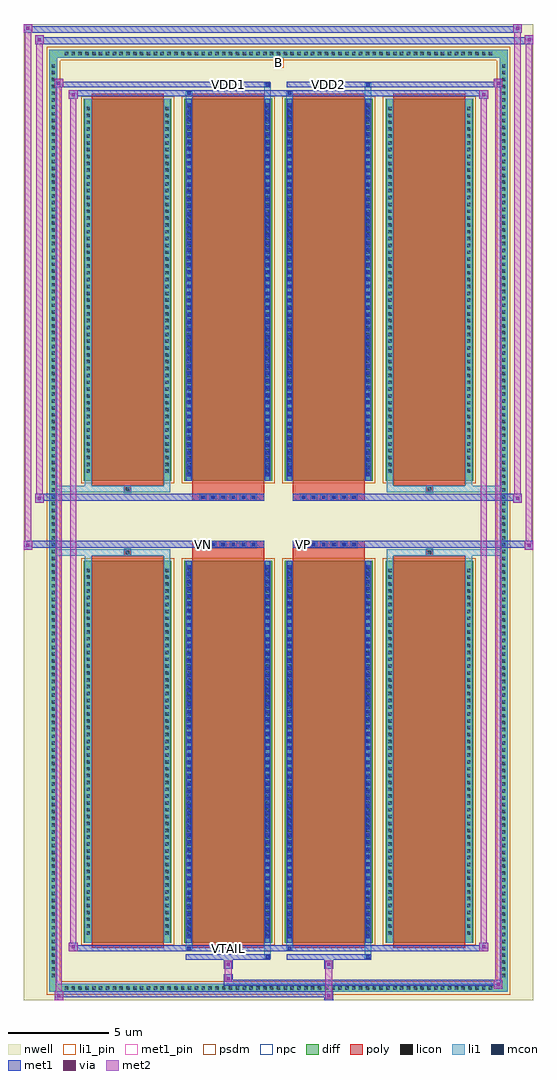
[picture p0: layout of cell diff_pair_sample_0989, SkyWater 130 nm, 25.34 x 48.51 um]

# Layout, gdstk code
import gdstk
lib = gdstk.Library(unit=1e-6, precision=5e-09)
def R(c, l, rs):  # rectangles x0, y0, x1, y1
    for r in rs: c.add(gdstk.rectangle(r[:2], r[2:], *l))
def A(c, l, x, y, w, h, nx, ny, dx, dy):  # array of equal rectangles
    R(c, l, [(x+i*dx, y+j*dy, x+i*dx+w, y+j*dy+h) for i in range(nx) for j in range(ny)])
def P(c, l, *ps):  # polygons
    for p in ps: c.add(gdstk.Polygon(p, *l))
nwell = (64, 20)
diff = (65, 20)
poly = (66, 20)
licon = (66, 44)
li1_pin = (67, 16)
li1 = (67, 20)
mcon = (67, 44)
met1_pin = (68, 16)
met1 = (68, 20)
via = (68, 44)
met2 = (69, 20)
psdm = (94, 20)
npc = (95, 20)

diff_pair_sample_0989 = lib.new_cell('diff_pair_sample_0989')
R(diff_pair_sample_0989, nwell, [(-12.67,-23.82,12.67,24.69), (-9.99,-22.01,-0.01,-0.805), (0.01,-22.01,9.99,-0.805), (-9.99,0.805,-0.01,22.01), (0.01,0.805,9.99,22.01)])
A(diff_pair_sample_0989, diff, -10.745, -23.42, 0.41, 0.41, 63, 2, 0.34, 46.43)
A(diff_pair_sample_0989, diff, -11.4, -22.815, 0.41, 0.41, 1, 134, 0, 0.34)
A(diff_pair_sample_0989, diff, 10.99, -22.815, 0.41, 0.41, 1, 134, 0, 0.34)
A(diff_pair_sample_0989, diff, -9.68, -20.965, 4.36, 18.98, 4, 2, 5, 22.95)
R(diff_pair_sample_0989, diff, [(-10.745,-23.42,10.745,-23.01), (-11.4,-22.815,-10.99,22.815), (10.99,-22.815,11.4,22.815), (-10.745,23.01,10.745,23.42)])
P(diff_pair_sample_0989, diff, [(11.4,23.42),(-11.4,23.42),(-11.4,-23.01),(-10.99,-23.01),(-10.99,23.01),(10.99,23.01),(10.99,-23.01),(-10.99,-23.01),(-11.4,-23.01),(-11.4,-23.42),(11.4,-23.42)])
A(diff_pair_sample_0989, poly, -9.29, -21.215, 3.58, 19.48, 4, 2, 5, 22.95)
A(diff_pair_sample_0989, poly, -3.915, -1.335, 0.33, 0.33, 6, 2, 0.5, 2.34)
A(diff_pair_sample_0989, poly, 1.085, -1.335, 0.33, 0.33, 6, 2, 0.5, 2.34)
R(diff_pair_sample_0989, poly, [(-7.665,-1.735,-7.335,-1.405), (-7.665,-1.735,-7.335,-1.405), (-4.29,-1.735,-0.71,-1.335), (0.71,-1.735,4.29,-1.335), (7.335,-1.735,7.665,-1.405), (7.335,-1.735,7.665,-1.405), (-4.29,-1.335,-0.71,-1.005), (0.71,-1.335,4.29,-1.005), (-4.29,1.005,-0.71,1.335), (0.71,1.005,4.29,1.335), (-4.29,1.335,-0.71,1.735), (0.71,1.335,4.29,1.735), (-7.665,1.405,-7.335,1.735), (-7.665,1.405,-7.335,1.735), (7.335,1.405,7.665,1.735), (7.335,1.405,7.665,1.735)])
A(diff_pair_sample_0989, licon, -10.625, -23.3, 0.17, 0.17, 63, 2, 0.34, 46.43)
A(diff_pair_sample_0989, licon, -11.28, -22.695, 0.17, 0.17, 1, 134, 0, 0.34)
A(diff_pair_sample_0989, licon, 11.11, -22.695, 0.17, 0.17, 1, 134, 0, 0.34)
A(diff_pair_sample_0989, licon, -9.54, -20.57, 0.17, 0.17, 1, 54, 0, 0.34)
A(diff_pair_sample_0989, licon, -5.63, -20.57, 0.17, 0.17, 1, 54, 0, 0.34)
A(diff_pair_sample_0989, licon, -4.54, -20.57, 0.17, 0.17, 1, 54, 0, 0.34)
A(diff_pair_sample_0989, licon, -0.63, -20.57, 0.17, 0.17, 1, 54, 0, 0.34)
A(diff_pair_sample_0989, licon, 0.46, -20.57, 0.17, 0.17, 1, 54, 0, 0.34)
A(diff_pair_sample_0989, licon, 4.37, -20.57, 0.17, 0.17, 1, 54, 0, 0.34)
A(diff_pair_sample_0989, licon, 5.46, -20.57, 0.17, 0.17, 1, 54, 0, 0.34)
A(diff_pair_sample_0989, licon, 9.37, -20.57, 0.17, 0.17, 1, 54, 0, 0.34)
A(diff_pair_sample_0989, licon, -3.835, -1.255, 0.17, 0.17, 6, 2, 0.5, 2.34)
A(diff_pair_sample_0989, licon, 1.165, -1.255, 0.17, 0.17, 6, 2, 0.5, 2.34)
A(diff_pair_sample_0989, licon, -9.54, 2.38, 0.17, 0.17, 1, 54, 0, 0.34)
A(diff_pair_sample_0989, licon, -5.63, 2.38, 0.17, 0.17, 1, 54, 0, 0.34)
A(diff_pair_sample_0989, licon, -4.54, 2.38, 0.17, 0.17, 1, 54, 0, 0.34)
A(diff_pair_sample_0989, licon, -0.63, 2.38, 0.17, 0.17, 1, 54, 0, 0.34)
A(diff_pair_sample_0989, licon, 0.46, 2.38, 0.17, 0.17, 1, 54, 0, 0.34)
A(diff_pair_sample_0989, licon, 4.37, 2.38, 0.17, 0.17, 1, 54, 0, 0.34)
A(diff_pair_sample_0989, licon, 5.46, 2.38, 0.17, 0.17, 1, 54, 0, 0.34)
A(diff_pair_sample_0989, licon, 9.37, 2.38, 0.17, 0.17, 1, 54, 0, 0.34)
R(diff_pair_sample_0989, licon, [(-7.585,-1.655,-7.415,-1.485), (7.415,-1.655,7.585,-1.485), (-7.585,1.485,-7.415,1.655), (7.415,1.485,7.585,1.655)])
R(diff_pair_sample_0989, li1_pin, [(-0.25,22.51,0.25,23.01)])
A(diff_pair_sample_0989, li1, -10.705, -23.38, 0.33, 0.33, 63, 2, 0.34, 46.43)
A(diff_pair_sample_0989, li1, -11.36, -22.775, 0.33, 0.33, 1, 134, 0, 0.34)
A(diff_pair_sample_0989, li1, 11.03, -22.775, 0.33, 0.33, 1, 134, 0, 0.34)
A(diff_pair_sample_0989, li1, -4.54, -20.74, 0.17, 0.17, 1, 52, 0, 0.36)
A(diff_pair_sample_0989, li1, -0.63, -20.74, 0.17, 0.17, 1, 52, 0, 0.36)
A(diff_pair_sample_0989, li1, 0.46, -20.74, 0.17, 0.17, 1, 52, 0, 0.36)
A(diff_pair_sample_0989, li1, 4.37, -20.74, 0.17, 0.17, 1, 52, 0, 0.36)
A(diff_pair_sample_0989, li1, -9.62, -20.65, 0.33, 0.33, 1, 54, 0, 0.34)
A(diff_pair_sample_0989, li1, -5.71, -20.65, 0.33, 0.33, 1, 54, 0, 0.34)
A(diff_pair_sample_0989, li1, -4.62, -20.65, 0.33, 0.33, 1, 54, 0, 0.34)
A(diff_pair_sample_0989, li1, -0.71, -20.65, 0.33, 0.33, 1, 54, 0, 0.34)
A(diff_pair_sample_0989, li1, 0.38, -20.65, 0.33, 0.33, 1, 54, 0, 0.34)
A(diff_pair_sample_0989, li1, 4.29, -20.65, 0.33, 0.33, 1, 54, 0, 0.34)
A(diff_pair_sample_0989, li1, 5.38, -20.65, 0.33, 0.33, 1, 54, 0, 0.34)
A(diff_pair_sample_0989, li1, 9.29, -20.65, 0.33, 0.33, 1, 54, 0, 0.34)
A(diff_pair_sample_0989, li1, -3.915, -1.335, 0.33, 0.33, 6, 2, 0.5, 2.34)
A(diff_pair_sample_0989, li1, 1.085, -1.335, 0.33, 0.33, 6, 2, 0.5, 2.34)
A(diff_pair_sample_0989, li1, -4.54, 2.21, 0.17, 0.17, 1, 52, 0, 0.36)
A(diff_pair_sample_0989, li1, -0.63, 2.21, 0.17, 0.17, 1, 52, 0, 0.36)
A(diff_pair_sample_0989, li1, 0.46, 2.21, 0.17, 0.17, 1, 52, 0, 0.36)
A(diff_pair_sample_0989, li1, 4.37, 2.21, 0.17, 0.17, 1, 52, 0, 0.36)
A(diff_pair_sample_0989, li1, -9.62, 2.3, 0.33, 0.33, 1, 54, 0, 0.34)
A(diff_pair_sample_0989, li1, -5.71, 2.3, 0.33, 0.33, 1, 54, 0, 0.34)
A(diff_pair_sample_0989, li1, -4.62, 2.3, 0.33, 0.33, 1, 54, 0, 0.34)
A(diff_pair_sample_0989, li1, -0.71, 2.3, 0.33, 0.33, 1, 54, 0, 0.34)
A(diff_pair_sample_0989, li1, 0.38, 2.3, 0.33, 0.33, 1, 54, 0, 0.34)
A(diff_pair_sample_0989, li1, 4.29, 2.3, 0.33, 0.33, 1, 54, 0, 0.34)
A(diff_pair_sample_0989, li1, 5.38, 2.3, 0.33, 0.33, 1, 54, 0, 0.34)
A(diff_pair_sample_0989, li1, 9.29, 2.3, 0.33, 0.33, 1, 54, 0, 0.34)
R(diff_pair_sample_0989, li1, [(-11.4,-23.42,-10.99,-23.01), (-11.4,-23.42,-10.99,-23.01), (-10.99,-23.42,10.99,-23.01), (10.99,-23.42,11.4,-23.01), (10.99,-23.42,11.4,-23.01), (-11.4,-23.01,-10.99,23.01), (10.99,-23.01,11.4,23.01), (-0.71,-21.77,-0.38,-20.965), (-0.63,-21.77,-0.46,-21.6), (4.29,-21.77,4.62,-20.965), (4.37,-21.77,4.54,-21.6), (-4.62,-21.34,-4.29,-20.965), (-4.54,-21.34,-4.37,-21.17), (0.38,-21.34,0.71,-20.965), (0.46,-21.34,0.63,-21.17), (-9.62,-20.965,-9.29,-1.985), (-5.71,-20.965,-5.38,-1.985), (-4.62,-20.965,-4.29,-1.985), (-0.71,-20.965,-0.38,-1.985), (0.38,-20.965,0.71,-1.985), (4.29,-20.965,4.62,-1.985), (5.38,-20.965,5.71,-1.985), (9.29,-20.965,9.62,-1.985), (-4.54,-20.74,-4.37,-2.21), (-0.63,-20.74,-0.46,-2.21), (0.46,-20.74,0.63,-2.21), (4.37,-20.74,4.54,-2.21), (-9.62,-1.985,-9.29,-1.405), (-5.71,-1.985,-5.38,-1.405), (5.38,-1.985,5.71,-1.405), (9.29,-1.985,9.62,-1.405), (-11.4,-1.735,-7.665,-1.405), (-9.62,-1.735,-7.665,-1.405), (-7.665,-1.735,-7.335,-1.405), (-7.335,-1.735,-5.38,-1.405), (5.38,-1.735,7.335,-1.405), (7.335,-1.735,7.665,-1.405), (7.335,-1.735,11.4,-1.405), (7.665,-1.735,9.62,-1.405), (-11.4,1.405,-7.665,1.735), (-9.62,1.405,-7.665,1.735), (-9.62,1.405,-9.29,1.985), (-7.665,1.405,-7.335,1.735), (-7.335,1.405,-5.38,1.735), (-5.71,1.405,-5.38,1.985), (5.38,1.405,7.335,1.735), (5.38,1.405,5.71,1.985), (7.335,1.405,7.665,1.735), (7.335,1.405,11.4,1.735), (7.665,1.405,9.62,1.735), (9.29,1.405,9.62,1.985), (-9.62,1.985,-9.29,20.965), (-5.71,1.985,-5.38,20.965), (-4.62,1.985,-4.29,20.965), (-0.71,1.985,-0.38,20.965), (0.38,1.985,0.71,20.965), (4.29,1.985,4.62,20.965), (5.38,1.985,5.71,20.965), (9.29,1.985,9.62,20.965), (-4.54,2.21,-4.37,20.74), (-0.63,2.21,-0.46,20.74), (0.46,2.21,0.63,20.74), (4.37,2.21,4.54,20.74), (-4.62,20.965,-4.29,21.34), (-0.71,20.965,-0.38,21.77), (0.38,20.965,0.71,21.34), (4.29,20.965,4.62,21.77), (-4.54,21.17,-4.37,21.34), (0.46,21.17,0.63,21.34), (-0.63,21.6,-0.46,21.77), (4.37,21.6,4.54,21.77), (-11.4,23.01,-10.99,23.42), (-11.4,23.01,-10.99,23.42), (-10.99,23.01,10.99,23.42), (10.99,23.01,11.4,23.42), (10.99,23.01,11.4,23.42)])
A(diff_pair_sample_0989, mcon, -4.54, -20.74, 0.17, 0.17, 1, 52, 0, 0.36)
A(diff_pair_sample_0989, mcon, -0.63, -20.74, 0.17, 0.17, 1, 52, 0, 0.36)
A(diff_pair_sample_0989, mcon, 0.46, -20.74, 0.17, 0.17, 1, 52, 0, 0.36)
A(diff_pair_sample_0989, mcon, 4.37, -20.74, 0.17, 0.17, 1, 52, 0, 0.36)
A(diff_pair_sample_0989, mcon, -3.835, -1.255, 0.17, 0.17, 6, 2, 0.5, 2.34)
A(diff_pair_sample_0989, mcon, 1.165, -1.255, 0.17, 0.17, 6, 2, 0.5, 2.34)
A(diff_pair_sample_0989, mcon, -4.54, 2.21, 0.17, 0.17, 1, 52, 0, 0.36)
A(diff_pair_sample_0989, mcon, -0.63, 2.21, 0.17, 0.17, 1, 52, 0, 0.36)
A(diff_pair_sample_0989, mcon, 0.46, 2.21, 0.17, 0.17, 1, 52, 0, 0.36)
A(diff_pair_sample_0989, mcon, 4.37, 2.21, 0.17, 0.17, 1, 52, 0, 0.36)
R(diff_pair_sample_0989, mcon, [(-0.63,-21.77,-0.46,-21.6), (4.37,-21.77,4.54,-21.6), (-4.54,-21.34,-4.37,-21.17), (0.46,-21.34,0.63,-21.17), (-4.54,21.17,-4.37,21.34), (0.46,21.17,0.63,21.34), (-0.63,21.6,-0.46,21.77), (4.37,21.6,4.54,21.77)])
R(diff_pair_sample_0989, met1_pin, [(-2.635,-21.38,-2.365,-21.11), (-3.885,-1.295,-3.615,-1.025), (1.115,-1.295,1.385,-1.025), (-2.635,21.56,-2.365,21.83), (2.365,21.56,2.635,21.83)])
A(diff_pair_sample_0989, met1, -4.6, -20.8, 0.29, 0.29, 1, 52, 0, 0.36)
A(diff_pair_sample_0989, met1, -0.69, -20.8, 0.29, 0.29, 1, 52, 0, 0.36)
A(diff_pair_sample_0989, met1, 0.4, -20.8, 0.29, 0.29, 1, 52, 0, 0.36)
A(diff_pair_sample_0989, met1, 4.31, -20.8, 0.29, 0.29, 1, 52, 0, 0.36)
A(diff_pair_sample_0989, met1, -3.895, -1.315, 0.29, 0.29, 6, 2, 0.5, 2.34)
A(diff_pair_sample_0989, met1, 1.105, -1.315, 0.29, 0.29, 6, 2, 0.5, 2.34)
A(diff_pair_sample_0989, met1, -4.6, 2.15, 0.29, 0.29, 1, 52, 0, 0.36)
A(diff_pair_sample_0989, met1, -0.69, 2.15, 0.29, 0.29, 1, 52, 0, 0.36)
A(diff_pair_sample_0989, met1, 0.4, 2.15, 0.29, 0.29, 1, 52, 0, 0.36)
A(diff_pair_sample_0989, met1, 4.31, 2.15, 0.29, 0.29, 1, 52, 0, 0.36)
R(diff_pair_sample_0989, met1, [(-11.13,-23.82,-10.7,-23.39), (2.285,-23.82,2.715,-23.39), (-11.13,-23.68,2.715,-23.39), (10.7,-23.25,11.13,-22.82), (-2.715,-23.11,11.13,-22.82), (-2.715,-22.97,-2.285,-22.54), (-2.715,-22.26,-2.285,-21.83), (2.285,-22.26,2.715,-21.83), (-4.6,-21.83,-0.4,-21.54), (-0.69,-21.83,-0.4,-21.54), (0.4,-21.83,4.6,-21.54), (4.31,-21.83,4.6,-21.54), (-10.42,-21.4,-9.99,-20.97), (-10.42,-21.4,-4.6,-21.11), (-4.6,-21.4,-4.31,-21.11), (-4.6,-21.4,-0.4,-21.11), (-0.4,-21.4,0.4,-21.11), (0.4,-21.4,0.69,-21.11), (0.4,-21.4,4.6,-21.11), (4.6,-21.4,10.42,-21.11), (9.99,-21.4,10.42,-20.97), (-4.6,-20.965,-4.31,-1.985), (-0.69,-20.965,-0.4,-1.985), (0.4,-20.965,0.69,-1.985), (4.31,-20.965,4.6,-1.985), (-12.67,-1.435,-12.24,-1.005), (12.24,-1.435,12.67,-1.005), (-12.67,-1.335,-0.71,-1.005), (-4.29,-1.335,-0.71,-1.005), (0.71,-1.335,4.29,-1.005), (0.71,-1.335,12.67,-1.005), (-12.1,0.905,-11.67,1.335), (11.67,0.905,12.1,1.335), (-12.1,1.005,-4.29,1.335), (-4.29,1.005,-0.71,1.335), (0.71,1.005,4.29,1.335), (4.29,1.005,12.1,1.335), (-4.6,1.985,-4.31,20.965), (-0.69,1.985,-0.4,20.965), (0.4,1.985,0.69,20.965), (4.31,1.985,4.6,20.965), (-10.42,20.97,-9.99,21.4), (9.99,20.97,10.42,21.4), (-10.42,21.11,-4.6,21.4), (-4.6,21.11,-4.31,21.4), (-4.6,21.11,-0.4,21.4), (-0.4,21.11,0.4,21.4), (0.4,21.11,0.69,21.4), (0.4,21.11,4.6,21.4), (4.6,21.11,10.42,21.4), (-11.13,21.54,-10.7,21.97), (-11.13,21.54,-4.6,21.83), (-4.6,21.54,-0.4,21.83), (-0.69,21.54,-0.4,21.83), (0.4,21.54,4.6,21.83), (4.31,21.54,4.6,21.83), (4.6,21.54,11.13,21.83), (10.7,21.54,11.13,21.97), (-12.1,23.69,-11.67,24.12), (-12.1,23.69,-9.99,24.02), (-9.99,23.69,9.99,24.02), (9.99,23.69,12.67,24.02), (12.24,23.69,12.67,24.12), (-12.67,24.26,-12.24,24.69), (-12.67,24.26,-9.99,24.59), (-9.99,24.26,9.99,24.59), (9.99,24.26,12.1,24.59), (11.67,24.26,12.1,24.69)])
R(diff_pair_sample_0989, via, [(-10.99,-23.68,-10.84,-23.53), (2.425,-23.68,2.575,-23.53), (10.84,-23.11,10.99,-22.96), (-2.575,-22.83,-2.425,-22.68), (-2.575,-22.12,-2.425,-21.97), (2.425,-22.12,2.575,-21.97), (-10.28,-21.26,-10.13,-21.11), (10.13,-21.26,10.28,-21.11), (-12.53,-1.295,-12.38,-1.145), (12.38,-1.295,12.53,-1.145), (-11.96,1.045,-11.81,1.195), (11.81,1.045,11.96,1.195), (-10.28,21.11,-10.13,21.26), (10.13,21.11,10.28,21.26), (-10.99,21.68,-10.84,21.83), (10.84,21.68,10.99,21.83), (-11.96,23.83,-11.81,23.98), (12.38,23.83,12.53,23.98), (-12.53,24.4,-12.38,24.55), (11.81,24.4,11.96,24.55)])
R(diff_pair_sample_0989, met2, [(-11.13,-23.82,-10.7,-23.39), (-11.06,-23.82,-10.77,21.97), (-10.77,-23.82,-10.7,-23.39), (-11.08,-23.77,-10.75,-23.44), (2.335,-23.77,2.665,-23.44), (2.335,-23.44,2.665,-22.21), (10.7,-23.25,11.13,-22.82), (10.77,-23.25,11.06,21.97), (11.06,-23.25,11.13,-22.82), (10.75,-23.2,11.08,-22.87), (-2.665,-22.92,-2.335,-22.59), (-2.665,-22.59,-2.335,-22.21), (-2.665,-22.21,-2.335,-21.88), (2.335,-22.21,2.665,-21.88), (-10.42,-21.4,-9.99,-20.97), (-10.35,-21.4,-10.06,21.4), (-10.06,-21.4,-9.99,-20.97), (9.99,-21.4,10.42,-20.97), (10.06,-21.4,10.35,21.4), (10.35,-21.4,10.42,-20.97), (-10.37,-21.35,-10.04,-21.02), (10.04,-21.35,10.37,-21.02), (-12.67,-1.435,-12.24,-1.005), (-12.62,-1.435,-12.29,24.69), (-12.29,-1.435,-12.24,-1.005), (12.24,-1.435,12.67,-1.005), (12.29,-1.435,12.62,24.12), (12.62,-1.435,12.67,-1.005), (-12.62,-1.385,-12.29,-1.055), (12.29,-1.385,12.62,-1.055), (-12.1,0.905,-11.67,1.335), (-12.05,0.905,-11.72,24.12), (-11.72,0.905,-11.67,1.335), (11.67,0.905,12.1,1.335), (11.72,0.905,12.05,24.69), (12.05,0.905,12.1,1.335), (-12.05,0.955,-11.72,1.285), (11.72,0.955,12.05,1.285), (-10.42,20.97,-9.99,21.4), (-10.06,20.97,-9.99,21.4), (9.99,20.97,10.42,21.4), (10.35,20.97,10.42,21.4), (-10.37,21.02,-10.04,21.35), (10.04,21.02,10.37,21.35), (-11.13,21.54,-10.7,21.97), (-10.77,21.54,-10.7,21.97), (10.7,21.54,11.13,21.97), (11.06,21.54,11.13,21.97), (-11.08,21.59,-10.75,21.92), (10.75,21.59,11.08,21.92), (-12.1,23.69,-11.67,24.12), (-11.72,23.69,-11.67,24.12), (12.24,23.69,12.67,24.12), (12.62,23.69,12.67,24.12), (-12.05,23.74,-11.72,24.07), (12.29,23.74,12.62,24.07), (-12.67,24.26,-12.24,24.69), (-12.29,24.26,-12.24,24.69), (11.67,24.26,12.1,24.69), (12.05,24.26,12.1,24.69), (-12.62,24.31,-12.29,24.64), (11.72,24.31,12.05,24.64)])
A(diff_pair_sample_0989, psdm, -9.81, -21.095, 4.62, 19.24, 4, 2, 5, 22.95)
P(diff_pair_sample_0989, psdm, [(11.53,23.55),(-11.53,23.55),(-11.53,-22.88),(-10.86,-22.88),(-10.86,22.88),(10.86,22.88),(10.86,-22.88),(-10.86,-22.88),(-11.53,-22.88),(-11.53,-23.55),(11.53,-23.55)])
A(diff_pair_sample_0989, npc, -3.935, -1.355, 0.37, 0.37, 6, 2, 0.5, 2.34)
A(diff_pair_sample_0989, npc, 1.065, -1.355, 0.37, 0.37, 6, 2, 0.5, 2.34)
R(diff_pair_sample_0989, npc, [(-7.685,-1.755,-7.315,-1.385), (7.315,-1.755,7.685,-1.385), (-3.935,-1.355,-3.065,-0.985), (-3.935,-1.355,-3.065,-0.985), (-3.435,-1.355,-2.565,-0.985), (-3.435,-1.355,-2.565,-0.985), (-2.935,-1.355,-2.065,-0.985), (-2.935,-1.355,-2.065,-0.985), (-2.435,-1.355,-1.565,-0.985), (-2.435,-1.355,-1.565,-0.985), (-1.935,-1.355,-1.065,-0.985), (-1.935,-1.355,-1.065,-0.985), (1.065,-1.355,1.935,-0.985), (1.065,-1.355,1.935,-0.985), (1.565,-1.355,2.435,-0.985), (1.565,-1.355,2.435,-0.985), (2.065,-1.355,2.935,-0.985), (2.065,-1.355,2.935,-0.985), (2.565,-1.355,3.435,-0.985), (2.565,-1.355,3.435,-0.985), (3.065,-1.355,3.935,-0.985), (3.065,-1.355,3.935,-0.985), (-3.935,0.985,-3.065,1.355), (-3.935,0.985,-3.065,1.355), (-3.435,0.985,-2.565,1.355), (-3.435,0.985,-2.565,1.355), (-2.935,0.985,-2.065,1.355), (-2.935,0.985,-2.065,1.355), (-2.435,0.985,-1.565,1.355), (-2.435,0.985,-1.565,1.355), (-1.935,0.985,-1.065,1.355), (-1.935,0.985,-1.065,1.355), (1.065,0.985,1.935,1.355), (1.065,0.985,1.935,1.355), (1.565,0.985,2.435,1.355), (1.565,0.985,2.435,1.355), (2.065,0.985,2.935,1.355), (2.065,0.985,2.935,1.355), (2.565,0.985,3.435,1.355), (2.565,0.985,3.435,1.355), (3.065,0.985,3.935,1.355), (3.065,0.985,3.935,1.355), (-7.685,1.385,-7.315,1.755), (7.315,1.385,7.685,1.755)])
diff_pair_sample_0989.add(gdstk.Label('VTAIL', (-2.5,-21.245), layer=68, texttype=5))
diff_pair_sample_0989.add(gdstk.Label('VN', (-3.75,-1.16), layer=68, texttype=5))
diff_pair_sample_0989.add(gdstk.Label('VP', (1.25,-1.16), layer=68, texttype=5))
diff_pair_sample_0989.add(gdstk.Label('B', (0,22.76), layer=67, texttype=5))
diff_pair_sample_0989.add(gdstk.Label('VDD2', (2.5,21.695), layer=68, texttype=5))
diff_pair_sample_0989.add(gdstk.Label('VDD1', (-2.5,21.695), layer=68, texttype=5))

lib.write_gds('diff_pair_sample_0989.gds')
